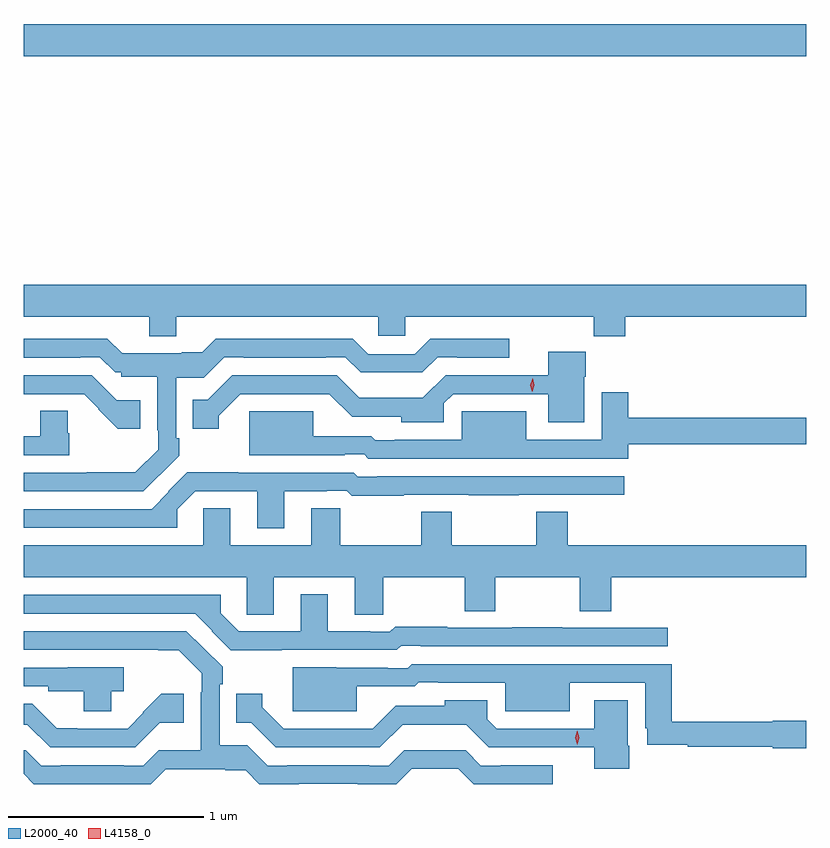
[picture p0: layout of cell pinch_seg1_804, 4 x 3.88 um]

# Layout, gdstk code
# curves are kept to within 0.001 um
import gdstk
lib = gdstk.Library(unit=1e-6, precision=1e-09)
def R(c, l, rs):  # rectangles x0, y0, x1, y1
    for r in rs: c.add(gdstk.rectangle(r[:2], r[2:], *l))
def P(c, l, *ps):  # polygons
    for p in ps: c.add(gdstk.Polygon(p, *l))
L2000_40 = (2000, 40)
L4158_0 = (4158, 0)

pinch_seg1_804 = lib.new_cell('pinch_seg1_804')
R(pinch_seg1_804, L2000_40, [(388.626,570.38,392.626,570.544)])
P(pinch_seg1_804, L2000_40, [(389.407,569.048),(390.438,569.048),(390.438,568.95),(390.576,568.95),(390.576,569.048),(391.54,569.048),(391.54,568.949),(391.7,568.949),(391.7,569.048),(392.626,569.048),(392.626,569.212),(388.626,569.212),(388.626,569.048),(389.267,569.048),(389.267,568.949),(389.407,568.949)],
  [(389.321,568.24),(389.322,568.239),(389.421,568.338),(389.421,568.426),(389.406,568.426),(389.406,568.737),(389.547,568.737),(389.652,568.842),(389.752,568.842),(389.752,568.839),(390.17,568.839),(390.17,568.842),(390.27,568.842),(390.348,568.764),(390.663,568.764),(390.741,568.842),(390.841,568.842),(390.841,568.839),(391.108,568.839),(391.108,568.936),(390.703,568.936),(390.624,568.857),(390.387,568.857),(390.308,568.936),(389.608,568.936),(389.538,568.866),(389.435,568.866),(389.435,568.861),(389.129,568.861),(389.054,568.936),(388.626,568.936),(388.626,568.839),(388.916,568.839),(388.916,568.842),(389.016,568.842),(389.094,568.764),(389.124,568.764),(389.124,568.74),(389.31,568.74),(389.31,568.468),(389.313,568.468),(389.313,568.369),(389.197,568.253),(388.948,568.253),(388.948,568.251),(388.626,568.251),(388.626,568.155),(389.236,568.155)],
  [(389.623,568.543),(389.733,568.653),(390.189,568.653),(390.306,568.536),(390.555,568.536),(390.555,568.508),(390.774,568.508),(390.774,568.605),(390.822,568.653),(391.307,568.653),(391.307,568.508),(391.492,568.508),(391.492,568.74),(391.498,568.74),(391.498,568.87),(391.307,568.87),(391.307,568.749),(390.782,568.749),(390.666,568.633),(390.341,568.633),(390.225,568.749),(389.693,568.749),(389.567,568.623),(389.491,568.623),(389.491,568.476),(389.623,568.476)],
  [(389.221,568.622),(389.103,568.622),(388.975,568.749),(388.626,568.749),(388.626,568.652),(388.678,568.652),(388.678,568.653),(388.935,568.653),(389.009,568.579),(389.006,568.576),(389.107,568.476),(389.221,568.476)],
  [(391.715,568.396),(392.626,568.396),(392.626,568.532),(391.715,568.532),(391.715,568.663),(391.58,568.663),(391.58,568.419),(391.195,568.419),(391.195,568.564),(390.864,568.564),(390.864,568.419),(390.523,568.419),(390.523,568.417),(390.422,568.417),(390.402,568.437),(390.106,568.437),(390.106,568.564),(389.78,568.564),(389.78,568.34),(390.266,568.341),(390.266,568.344),(390.366,568.344),(390.387,568.323),(391.715,568.323)],
  [(388.86,568.452),(388.852,568.452),(388.852,568.568),(388.712,568.568),(388.712,568.437),(388.626,568.437),(388.626,568.341),(388.86,568.341)],
  [(389.959,568.155),(390.176,568.155),(390.176,568.158),(390.276,568.158),(390.302,568.132),(390.569,568.132),(390.569,568.137),(390.901,568.137),(390.901,568.135),(391.157,568.135),(391.157,568.137),(391.696,568.137),(391.696,568.233),(390.433,568.233),(390.433,568.23),(390.333,568.23),(390.312,568.251),(389.723,568.251),(389.723,568.254),(389.463,568.254),(389.365,568.156),(389.368,568.153),(389.28,568.065),(388.626,568.065),(388.626,567.969),(389.412,567.969),(389.412,568.065),(389.502,568.155),(389.819,568.155),(389.819,567.966),(389.959,567.966)],
  [(389.905,567.716),(390.317,567.716),(390.317,567.526),(390.465,567.526),(390.465,567.716),(390.88,567.716),(390.88,567.544),(391.035,567.544),(391.035,567.716),(391.468,567.716),(391.468,567.544),(391.628,567.544),(391.628,567.716),(392.626,567.716),(392.626,567.88),(391.406,567.88),(391.406,568.052),(391.246,568.052),(391.246,567.88),(390.813,567.88),(390.813,568.052),(390.658,568.052),(390.658,567.88),(390.243,567.88),(390.243,568.07),(390.095,568.07),(390.095,567.88),(389.683,567.88),(389.683,568.07),(389.544,568.07),(389.544,567.88),(388.626,567.88),(388.626,567.716),(389.766,567.716),(389.766,567.526),(389.905,567.526)],
  [(389.945,567.345),(390.534,567.345),(390.555,567.366),(390.655,567.366),(390.655,567.363),(391.918,567.363),(391.918,567.459),(391.379,567.459),(391.379,567.462),(391.123,567.462),(391.123,567.459),(390.791,567.459),(390.791,567.464),(390.524,567.464),(390.498,567.438),(390.398,567.438),(390.398,567.441),(390.181,567.441),(390.181,567.631),(390.041,567.631),(390.041,567.441),(389.724,567.441),(389.634,567.532),(389.634,567.627),(388.626,567.627),(388.626,567.531),(389.502,567.531),(389.59,567.443),(389.587,567.44),(389.685,567.343),(389.945,567.343)],
  [(389.351,566.735),(389.657,566.735),(389.657,566.731),(389.76,566.731),(389.83,566.66),(390.53,566.66),(390.609,566.739),(390.846,566.739),(390.925,566.66),(391.33,566.66),(391.33,566.757),(391.063,566.757),(391.063,566.754),(390.963,566.754),(390.885,566.832),(390.57,566.832),(390.492,566.754),(390.392,566.754),(390.392,566.757),(389.974,566.757),(389.974,566.754),(389.874,566.754),(389.769,566.859),(389.628,566.859),(389.628,567.17),(389.643,567.17),(389.643,567.258),(389.458,567.441),(388.626,567.441),(388.626,567.345),(389.315,567.345),(389.315,567.343),(389.419,567.343),(389.535,567.227),(389.535,567.128),(389.532,567.128),(389.531,566.832),(389.316,566.832),(389.238,566.754),(389.138,566.754),(389.138,566.757),(388.816,566.757),(388.816,566.754),(388.716,566.754),(388.638,566.832),(388.626,566.832),(388.626,566.712),(388.678,566.66),(389.276,566.66)],
  [(392.626,566.984),(392.454,566.984),(392.454,566.978),(391.937,566.978),(391.937,567.273),(390.609,567.273),(390.588,567.252),(390.488,567.252),(390.488,567.255),(390.002,567.256),(390.002,567.032),(390.328,567.032),(390.328,567.159),(390.624,567.159),(390.644,567.179),(390.745,567.179),(390.745,567.177),(391.086,567.177),(391.086,567.032),(391.417,567.032),(391.417,567.177),(391.802,567.177),(391.802,566.946),(391.814,566.946),(391.814,566.861),(392.02,566.861),(392.02,566.85),(392.454,566.85),(392.454,566.842),(392.626,566.842)],
  [(389.074,567.134),(389.137,567.134),(389.137,567.256),(388.852,567.256),(388.852,567.255),(388.626,567.255),(388.626,567.159),(388.752,567.159),(388.752,567.135),(388.934,567.135),(388.934,567.032),(389.074,567.032)],
  [(389.322,566.972),(389.443,566.972),(389.443,567.121),(389.329,567.121),(389.235,567.027),(389.238,567.024),(389.157,566.943),(388.9,566.943),(388.9,566.945),(388.794,566.945),(388.669,567.07),(388.626,567.07),(388.626,566.964),(388.644,566.964),(388.761,566.847),(389.197,566.847)],
  [(391.72,566.856),(391.714,566.856),(391.714,567.088),(391.541,567.088),(391.541,566.943),(391.044,566.943),(390.996,566.991),(390.996,567.088),(390.777,567.088),(390.777,567.06),(390.528,567.06),(390.411,566.943),(389.955,566.943),(389.845,567.053),(389.845,567.121),(389.713,567.121),(389.713,566.973),(389.789,566.973),(389.915,566.847),(390.447,566.847),(390.563,566.963),(390.888,566.963),(391.004,566.847),(391.541,566.847),(391.541,566.738),(391.72,566.738)])
P(pinch_seg1_804, L4158_0, [(391.456,566.861),(391.456,566.862),(391.446,566.897),(391.456,566.932),(391.456,566.932),(391.456,566.932),(391.466,566.897),(391.456,566.862)],
  [(391.226,568.664),(391.226,568.664),(391.216,568.699),(391.227,568.734),(391.227,568.734),(391.227,568.734),(391.236,568.699),(391.226,568.664)])

lib.write_gds('pinch_seg1_804.gds')
